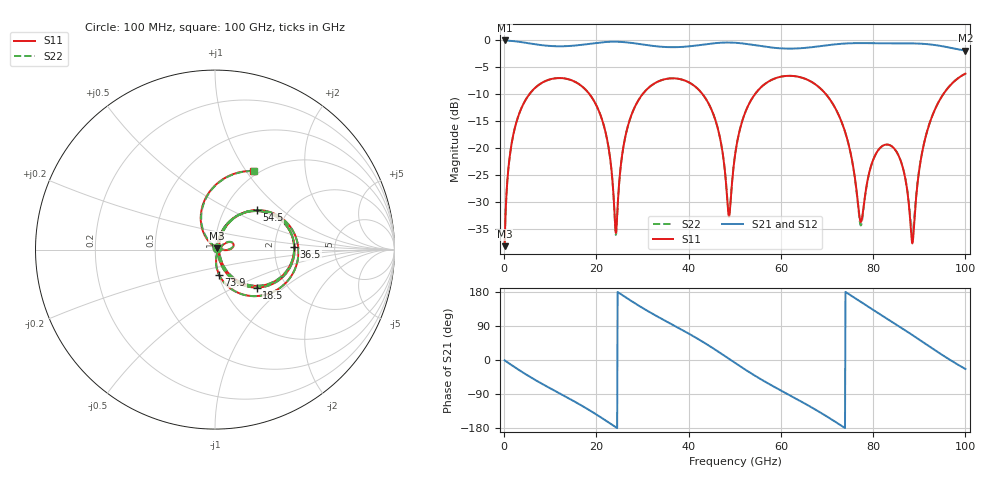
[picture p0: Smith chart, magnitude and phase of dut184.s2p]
! Touchstone file exported from HFSS 2026.1.0
!  File:  C:/ffzhzh/LocalFiles/Ansys_Project_Files/temp_test_TSV_RDL_184_1783477046_46308.aedt
!  Generated:  10:24:18 AM Jul  8, 2026
!  Design:  TSV_RDL
!  Project:  temp_test_TSV_RDL_184_1783477046_46308
! Variables:
!  h_bsmrdl = 3.41um
!  h_ox = 20um
!  h_rdl = 5um
!  h_sub = 63.97um
!  h_tmrdl = 4.39um
!  h_tsv = 63.97um
!  h_via = 3um
!  l_bsmrdl = 305.69um
!  l_sub = 2535.87um
!  l_tmrdl = 270.29um
!  m_sub = 200um
!  pitch = 45.5um
!  r_tsv = 8.74um
!  s_tmrdl = 10um
!  w_bsmrdl = 21.32um
!  w_sub = 500um
!  w_tmrdl = 24.56um
!  x_tsv_center1 = 282.57um
!  x_tsv_center2 = 609.58um
!  x_tsv_center3 = 904.43um
!  x_tsv_center4 = 1231.44um
!  x_tsv_center5 = 1526.29um
!  x_tsv_center6 = 1853.3um
# GHz S MA R 50.000000
! Terminal data exported
! Port[1] = TM_RDL1_1_T1
! Port[2] = TM_RDL5_1_T1
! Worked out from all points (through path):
!   1000 points, 100 MHz to 100 GHz, reference 50 ohm
!   highest |S21| = -0.08 dB at 100 MHz (marker M1); lowest = -2.0 dB at 100 GHz (marker M2)
!   group delay of S21, straight-line fit = 20.5 ps
!   lowest |S11| = -38.3 dB at 100 MHz (marker M3), VSWR 1.02, Z = 51 + j0.757 ohm
!   |S11| at or under -10 dB: 18.46 GHz to 30.06 GHz (11.6 GHz wide, 47.8 % of centre); 42.97 GHz to 54.42 GHz (11.45 GHz wide, 23.5 % of centre); 69.71 GHz to 95.25 GHz (25.54 GHz wide, 31 % of centre) (the widest 3 of 4)
!   |S22| runs from -38.3 to -6.2 dB; largest |S21 - S12| = 1.8e-14
!   S11 on the Smith chart (normalised r, x): 100 MHz: 1.02, +0.02; 18.5 GHz: 1.42, -0.67; 36.5 GHz: 2.57, +0.09; 54.5 GHz: 1.41, +0.69; 73.9 GHz: 1.01, -0.29; 100 GHz: 0.94, +1.08
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0.1  0.01222 37.4  0.9904 -0.9  0.9904 -0.9  0.01222 37.4
! Gamma 0 0 0 0
! Port Impedance 50 0 50 0
1.6  0.1081 69.6  0.9809 -13.3  0.9809 -13.3  0.1081 69.6
4.4  0.2664 50.8  0.9463 -35.5  0.9463 -35.5  0.2664 50.8
16.8  0.3738 -30.7  0.9025 -120.2  0.9025 -120.2  0.3738 -30.8
18.5  0.3145 -42.2  0.9222 -132.5  0.9222 -132.5  0.3145 -42.3
22.1  0.1325 -65.3  0.9585 -160.3  0.9585 -160.3  0.1325 -65.6
24.2  0.01622 -5.3  0.964 -177.3  0.964 -177.3  0.01554 -5.8
27.2  0.18 62.3  0.9446 158.6  0.9446 158.6  0.1799 62.6
33.4  0.4124 21.5  0.8709 113.6  0.8709 113.6  0.4124 21.6
36.5  0.4411 1.9  0.8574 93.1  0.8574 93.1  0.4411 2.1
44.9  0.2287 -52.3  0.9265 34.1  0.9265 34.1  0.2289 -52.0
48.7  0.02304 -5.8  0.9477 3.5  0.9477 3.5  0.02431 -5.5
50.1  0.08796 66.0  0.9429 -8.0  0.9429 -8.0  0.08822 65.3
54.5  0.3195 43.6  0.8933 -42.4  0.8933 -42.4  0.3195 43.4
66.7  0.4075 -34.2  0.8577 -125.3  0.8577 -125.3  0.4074 -34.3
73.9  0.1413 -80.7  0.9276 -179.6  0.9276 -179.6  0.1411 -81.1
77.3  0.0205 -28.1  0.936 153.4  0.936 153.4  0.01903 -28.0
83.4  0.1066 13.2  0.9291 106.0  0.9291 106.0  0.1065 14.4
86.4  0.06629 -2.6  0.9302 82.7  0.9302 82.7  0.06659 -0.3
88.5  0.01296 59.7  0.9298 65.9  0.9298 65.9  0.01583 60.8
92.3  0.1718 117.2  0.9103 34.9  0.9103 34.9  0.1723 116.2
100  0.4873 64.0  0.7969 -23.7  0.7969 -23.7  0.4875 63.7
